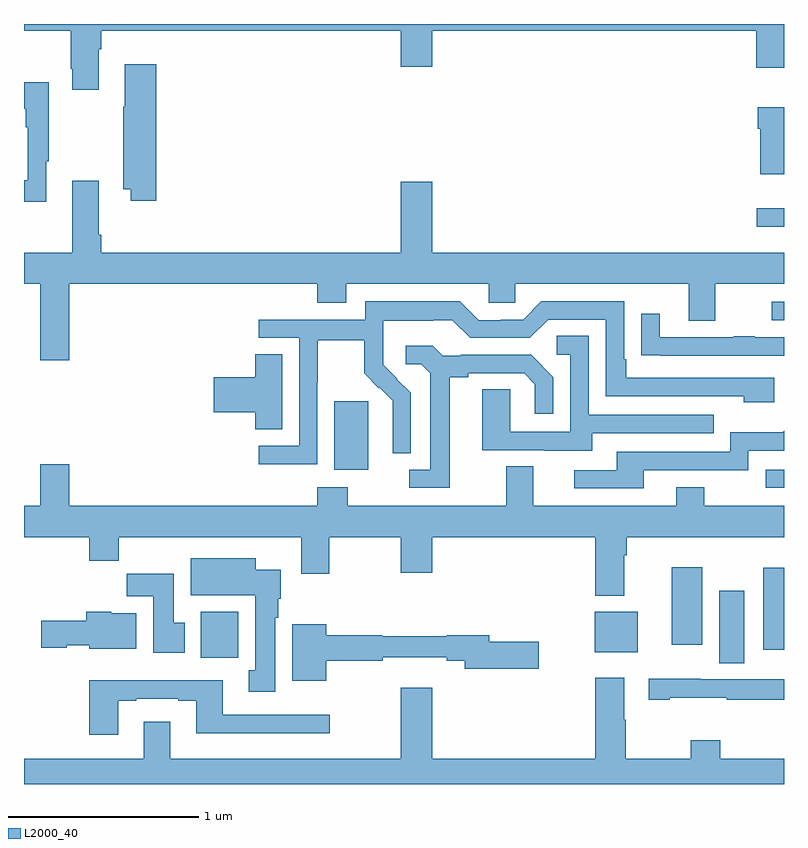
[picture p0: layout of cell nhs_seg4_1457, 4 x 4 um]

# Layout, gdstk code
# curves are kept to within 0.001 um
import gdstk
lib = gdstk.Library(unit=1e-6, precision=1e-09)
def R(c, l, rs):  # rectangles x0, y0, x1, y1
    for r in rs: c.add(gdstk.rectangle(r[:2], r[2:], *l))
def P(c, l, *ps):  # polygons
    for p in ps: c.add(gdstk.Polygon(p, *l))
L2000_40 = (2000, 40)

nhs_seg4_1457 = lib.new_cell('nhs_seg4_1457')
R(nhs_seg4_1457, L2000_40, [(190.658,749.536,190.792,749.917), (187.931,749.564,188.128,749.806), (190.004,749.594,190.231,749.806), (190.892,749.607,191,750.037), (190.409,749.634,190.57,750.04), (190.905,750.459,191,750.555), (188.633,750.554,188.812,750.915), (190.935,751.341,191,751.437), (190.857,751.832,191,751.929)])
P(nhs_seg4_1457, L2000_40, [(187.393,752.768),(187.406,752.768),(187.406,752.864),(188.984,752.864),(188.984,752.676),(189.148,752.676),(189.148,752.864),(190.853,752.864),(190.853,752.67),(191,752.67),(191,752.9),(187,752.9),(187,752.864),(187.246,752.864),(187.246,752.665),(187.253,752.665),(187.253,752.553),(187.393,752.553)],
  [(187.697,752.689),(187.529,752.689),(187.529,752.465),(187.522,752.465),(187.522,752.03),(187.562,752.03),(187.562,751.971),(187.697,751.971)],
  [(187.117,752.177),(187.129,752.177),(187.129,752.593),(187,752.593),(187,752.453),(187.008,752.453),(187.008,752.357),(187.02,752.357),(187.02,752.078),(187,752.078),(187,751.965),(187.117,751.965)],
  [(191,752.461),(190.862,752.461),(190.862,752.348),(190.874,752.348),(190.874,752.108),(191,752.108)],
  [(187.238,751.532),(188.543,751.532),(188.543,751.433),(188.695,751.433),(188.695,751.532),(189.447,751.532),(189.447,751.434),(189.585,751.434),(189.585,751.532),(190.499,751.532),(190.499,751.338),(190.639,751.338),(190.639,751.532),(191,751.532),(191,751.696),(189.148,751.696),(189.148,752.071),(188.984,752.071),(188.984,751.696),(187.406,751.696),(187.406,751.792),(187.393,751.792),(187.393,752.074),(187.253,752.074),(187.253,751.696),(187,751.696),(187,751.532),(187.085,751.532),(187.085,751.131),(187.238,751.131)],
  [(188.544,751.012),(188.547,751.012),(188.547,751.236),(188.791,751.236),(188.791,751.061),(188.868,750.984),(188.871,750.987),(188.942,750.917),(188.942,750.794),(188.94,750.794),(188.94,750.64),(189.036,750.64),(189.036,750.958),(188.89,751.106),(188.89,751.203),(188.892,751.203),(188.892,751.337),(189.155,751.337),(189.155,751.341),(189.255,751.341),(189.348,751.248),(189.663,751.248),(189.759,751.344),(190.062,751.344),(190.062,750.942),(190.787,750.942),(190.787,750.908),(190.948,750.908),(190.948,751.038),(190.171,751.038),(190.171,751.135),(190.158,751.135),(190.158,751.44),(189.723,751.44),(189.627,751.344),(189.509,751.344),(189.509,751.341),(189.393,751.341),(189.293,751.441),(188.796,751.441),(188.796,751.344),(188.235,751.344),(188.235,751.248),(188.448,751.248),(188.448,750.681),(188.235,750.681),(188.235,750.583),(188.544,750.583)],
  [(191,751.251),(190.847,751.251),(190.847,751.256),(190.735,751.256),(190.735,751.251),(190.345,751.251),(190.345,751.375),(190.249,751.375),(190.249,751.156),(190.351,751.156),(190.351,751.155),(191,751.155)],
  [(189.991,750.747),(190.631,750.747),(190.631,750.843),(189.972,750.843),(189.972,751.259),(189.804,751.259),(189.804,751.158),(189.876,751.158),(189.876,750.753),(189.558,750.753),(189.558,750.977),(189.413,750.977),(189.413,750.657),(189.737,750.657),(189.737,750.653),(189.991,750.653)],
  [(189.241,751.04),(189.337,751.04),(189.337,751.062),(189.632,751.062),(189.689,751.005),(189.689,750.849),(189.786,750.849),(189.786,751.042),(189.67,751.158),(189.298,751.158),(189.298,751.155),(189.204,751.155),(189.152,751.207),(189.009,751.207),(189.009,751.11),(189.09,751.11),(189.137,751.063),(189.137,750.555),(189.027,750.555),(189.027,750.459),(189.241,750.459)],
  [(188.359,751.163),(188.216,751.163),(188.216,751.04),(187.998,751.04),(187.998,750.857),(188.216,750.857),(188.216,750.766),(188.359,750.766)],
  [(190.261,750.552),(190.812,750.552),(190.812,750.654),(191,750.654),(191,750.758),(190.993,750.751),(190.716,750.751),(190.716,750.648),(190.121,750.648),(190.121,750.552),(189.897,750.552),(189.897,750.456),(190.261,750.456)],
  [(190.159,750.104),(190.172,750.104),(190.172,750.2),(191,750.2),(191,750.364),(190.581,750.364),(190.581,750.463),(190.433,750.463),(190.433,750.364),(189.679,750.364),(189.679,750.572),(189.539,750.572),(189.539,750.364),(188.703,750.364),(188.703,750.463),(188.543,750.463),(188.543,750.364),(187.238,750.364),(187.238,750.583),(187.085,750.583),(187.085,750.364),(187,750.364),(187,750.2),(187.343,750.2),(187.343,750.076),(187.499,750.076),(187.499,750.2),(188.459,750.2),(188.459,750.006),(188.607,750.006),(188.607,750.2),(188.984,750.2),(188.984,750.012),(189.148,750.012),(189.148,750.2),(190.007,750.2),(190.007,749.891),(190.159,749.891)],
  [(188.323,749.774),(188.338,749.774),(188.338,749.874),(188.35,749.874),(188.35,750.028),(188.221,750.028),(188.221,750.088),(187.877,750.088),(187.877,749.894),(188.216,749.894),(188.216,749.498),(188.183,749.498),(188.183,749.385),(188.323,749.385)],
  [(187.846,749.748),(187.789,749.748),(187.789,750.006),(187.54,750.006),(187.54,749.888),(187.679,749.888),(187.679,749.592),(187.846,749.592)],
  [(187.591,749.8),(187.458,749.8),(187.458,749.806),(187.328,749.806),(187.328,749.76),(187.092,749.76),(187.092,749.618),(187.224,749.618),(187.224,749.63),(187.344,749.63),(187.344,749.612),(187.591,749.612)],
  [(188.59,749.548),(188.888,749.548),(188.888,749.567),(189.224,749.567),(189.224,749.548),(189.32,749.548),(189.32,749.506),(189.709,749.506),(189.709,749.648),(189.448,749.648),(189.448,749.684),(189.224,749.684),(189.224,749.677),(188.886,749.677),(188.886,749.684),(188.59,749.684),(188.59,749.74),(188.411,749.74),(188.411,749.444),(188.59,749.444)],
  [(191,749.032),(190.665,749.032),(190.665,749.131),(190.51,749.131),(190.51,749.032),(190.167,749.032),(190.167,749.237),(190.159,749.237),(190.159,749.458),(190.007,749.458),(190.007,749.032),(189.148,749.032),(189.148,749.407),(188.984,749.407),(188.984,749.032),(187.771,749.032),(187.771,749.227),(187.631,749.227),(187.631,749.032),(187,749.032),(187,748.9),(191,748.9)],
  [(190.399,749.353),(190.699,749.353),(190.699,749.343),(191,749.343),(191,749.452),(190.896,749.452),(190.896,749.451),(190.562,749.451),(190.562,749.453),(190.287,749.453),(190.287,749.343),(190.399,749.343)],
  [(187.495,749.337),(187.591,749.337),(187.591,749.349),(187.811,749.349),(187.811,749.337),(187.907,749.337),(187.907,749.168),(188.608,749.168),(188.608,749.265),(188.047,749.265),(188.047,749.446),(187.343,749.446),(187.343,749.16),(187.495,749.16)])

lib.write_gds('nhs_seg4_1457.gds')
